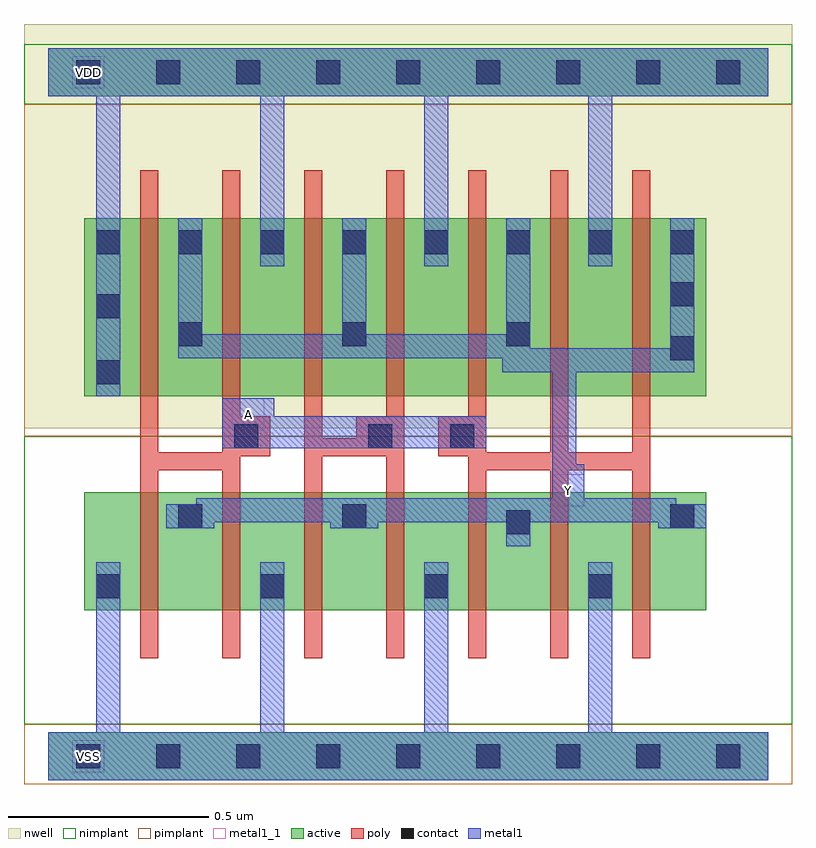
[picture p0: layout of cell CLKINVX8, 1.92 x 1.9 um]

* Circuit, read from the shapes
.subckt CLKINVX8 A VDD VSS Y
M1 Y A VSS VSS nfet w=0.295u l=0.045u m=7
M2 Y A VDD VDD pfet w=0.445u l=0.045u m=7
.ends

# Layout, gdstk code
import gdstk
lib = gdstk.Library(unit=1e-6, precision=5e-10)
def R(c, l, rs):  # rectangles x0, y0, x1, y1
    for r in rs: c.add(gdstk.rectangle(r[:2], r[2:], *l))
def A(c, l, x, y, w, h, nx, ny, dx, dy):  # array of equal rectangles
    R(c, l, [(x+i*dx, y+j*dy, x+i*dx+w, y+j*dy+h) for i in range(nx) for j in range(ny)])
def P(c, l, *ps):  # polygons
    for p in ps: c.add(gdstk.Polygon(p, *l))
active = (1, 0)
nwell = (2, 0)
poly = (3, 0)
nimplant = (4, 0)
pimplant = (5, 0)
contact = (6, 0)
metal1 = (7, 0)
metal1_1 = (7, 1)

clkinvx8 = lib.new_cell('CLKINVX8')
R(clkinvx8, active, [(0,-0.06,1.8,0.06), (0.09,0.365,1.645,0.66), (0.09,0.9,1.645,1.345), (0,1.65,1.8,1.77)])
R(clkinvx8, nwell, [(-0.06,0.82,1.86,1.83)])
P(clkinvx8, poly, [(0.23,1.465),(0.275,1.465),(0.275,0.76),(0.435,0.76),(0.435,1.465),(0.48,1.465),(0.48,0.85),(0.555,0.85),(0.555,0.75),(0.48,0.75),(0.48,0.245),(0.435,0.245),(0.435,0.715),(0.275,0.715),(0.275,0.245),(0.23,0.245)],
  [(0.64,1.465),(0.685,1.465),(0.685,0.795),(0.77,0.795),(0.77,0.85),(0.845,0.85),(0.845,1.465),(0.89,1.465),(0.89,0.245),(0.845,0.245),(0.845,0.75),(0.685,0.75),(0.685,0.245),(0.64,0.245)],
  [(1.05,1.465),(1.095,1.465),(1.095,0.76),(1.255,0.76),(1.255,1.465),(1.3,1.465),(1.3,0.76),(1.46,0.76),(1.46,1.465),(1.505,1.465),(1.505,0.245),(1.46,0.245),(1.46,0.715),(1.3,0.715),(1.3,0.245),(1.255,0.245),(1.255,0.715),(1.095,0.715),(1.095,0.245),(1.05,0.245),(1.05,0.75),(0.975,0.75),(0.975,0.85),(1.05,0.85)])
R(clkinvx8, nimplant, [(-0.06,0.08,1.86,0.8), (-0.06,1.63,1.86,1.78)])
R(clkinvx8, pimplant, [(-0.06,-0.07,1.86,0.08), (-0.06,0.8,1.86,1.63)])
A(clkinvx8, contact, 0.07, -0.03, 0.06, 0.06, 9, 2, 0.2, 1.71)
A(clkinvx8, contact, 0.12, 0.395, 0.06, 0.06, 4, 1, 0.41, 0)
A(clkinvx8, contact, 0.325, 1.025, 0.06, 0.06, 3, 1, 0.41, 0)
A(clkinvx8, contact, 0.12, 1.255, 0.06, 0.06, 8, 1, 0.205, 0)
R(clkinvx8, contact, [(1.145,0.555,1.205,0.615), (0.325,0.57,0.385,0.63), (0.735,0.57,0.795,0.63), (1.555,0.57,1.615,0.63), (0.465,0.77,0.525,0.83), (0.8,0.77,0.86,0.83), (1.005,0.77,1.065,0.83), (0.12,0.93,0.18,0.99), (1.555,0.99,1.615,1.05), (0.12,1.095,0.18,1.155), (1.555,1.125,1.615,1.185)])
P(clkinvx8, metal1, [(0.12,0.485),(0.18,0.485),(0.18,0.06),(0.53,0.06),(0.53,0.485),(0.59,0.485),(0.59,0.06),(0.94,0.06),(0.94,0.485),(1,0.485),(1,0.06),(1.35,0.06),(1.35,0.485),(1.41,0.485),(1.41,0.06),(1.8,0.06),(1.8,-0.06),(0,-0.06),(0,0.06),(0.12,0.06)],
  [(0,1.77),(1.8,1.77),(1.8,1.65),(1.41,1.65),(1.41,1.225),(1.35,1.225),(1.35,1.65),(1,1.65),(1,1.225),(0.94,1.225),(0.94,1.65),(0.59,1.65),(0.59,1.225),(0.53,1.225),(0.53,1.65),(0.18,1.65),(0.18,0.9),(0.12,0.9),(0.12,1.65),(0,1.65)],
  [(0.325,1.345),(0.385,1.345),(0.385,1.055),(0.735,1.055),(0.735,1.345),(0.795,1.345),(0.795,1.055),(1.145,1.055),(1.145,1.345),(1.205,1.345),(1.205,1.02),(1.555,1.02),(1.555,1.345),(1.615,1.345),(1.615,0.96),(1.32,0.96),(1.32,0.73),(1.34,0.73),(1.34,0.645),(1.57,0.645),(1.57,0.63),(1.645,0.63),(1.645,0.57),(1.525,0.57),(1.525,0.585),(1.205,0.585),(1.205,0.525),(1.145,0.525),(1.145,0.585),(0.825,0.585),(0.825,0.57),(0.705,0.57),(0.705,0.585),(0.415,0.585),(0.415,0.57),(0.295,0.57),(0.295,0.63),(0.37,0.63),(0.37,0.645),(1.26,0.645),(1.26,0.96),(1.135,0.96),(1.135,0.995),(0.325,0.995)],
  [(0.435,0.895),(0.565,0.895),(0.565,0.85),(1.095,0.85),(1.095,0.77),(0.435,0.77)])
R(clkinvx8, metal1_1, [(0.06,-0.04,0.14,0.04), (1.26,0.625,1.34,0.705), (0.46,0.815,0.54,0.895), (0.06,1.67,0.14,1.75)])
clkinvx8.add(gdstk.Label('Y', (1.3,0.665), layer=7, texttype=1))
clkinvx8.add(gdstk.Label('A', (0.5,0.855), layer=7, texttype=1))
clkinvx8.add(gdstk.Label('VDD', (0.1,1.71), layer=7, texttype=1))
clkinvx8.add(gdstk.Label('VSS', (0.1,0), layer=7, texttype=1))
clkinvx8.add(gdstk.Label('CLKINVX8', (0,0), layer=63, texttype=0))

lib.write_gds('CLKINVX8.gds')
